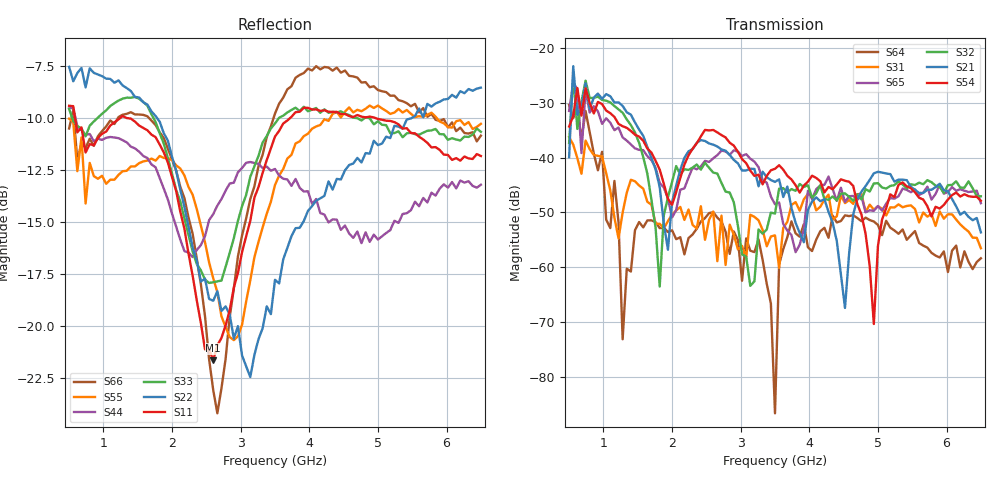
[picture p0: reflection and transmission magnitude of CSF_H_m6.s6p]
!Keysight Technologies,M9804A,MY58100912,A.14.10.03
!Date: Thursday, April 27, 2023 10:28:33
!Correction: S11(C  6-Port  )
!S12(C  6-Port  )
!S13(C  6-Port  )
!S14(C  6-Port  )
!S15(C  6-Port  )
!S16(C  6-Port  )
!S21(C  6-Port  )
!S22(C  6-Port  )
!S23(C  6-Port  )
!S24(C  6-Port  )
!S25(C  6-Port  )
!S26(C  6-Port  )
!S31(C  6-Port  )
!S32(C  6-Port  )
!S33(C  6-Port  )
!S34(C  6-Port  )
!S35(C  6-Port  )
!S36(C  6-Port  )
!S41(C  6-Port  )
!S42(C  6-Port  )
!S43(C  6-Port  )
!S44(C  6-Port  )
!S45(C  6-Port  )
!S46(C  6-Port  )
!S51(C  6-Port  )
!S52(C  6-Port  )
!S53(C  6-Port  )
!S54(C  6-Port  )
!S55(C  6-Port  )
!S56(C  6-Port  )
!S61(C  6-Port  )
!S62(C  6-Port  )
!S63(C  6-Port  )
!S64(C  6-Port  )
!S65(C  6-Port  )
!S66(C  6-Port  )
!S6P File: Measurement: :
# Hz S  RI  R 50
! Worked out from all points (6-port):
!   101 points, 500 MHz to 6.5 GHz, reference 50 ohm
!   strongest paths, dB at 500 MHz, 2 GHz, 3.5 GHz, 5 GHz, 6.5 GHz:
!     S54: -34.3, -48.6, -42.0, -56.1, -47.9
!     S21: -39.9, -48.1, -44.4, -42.6, -53.6
!     S32: -37.3, -44.4, -50.2, -44.6, -47.0
!     S65: -31.5, -50.9, -48.5, -48.8, -48.3
!     S31: -36.2, -50.4, -54.2, -48.9, -56.5
!     S64: -30.3, -53.2, -86.7, -52.3, -58.4
!   lowest |S11| = -21.6 dB at 2.6 GHz (marker M1), VSWR 1.18, Z = 42.6 + j2.04 ohm
!   |S11| at or under -10 dB: 587.8 MHz to 1.239 GHz (651.4 MHz wide, 71.3 % of centre); 1.368 GHz to 3.715 GHz (2.347 GHz wide, 92.3 % of centre); 4.975 GHz to end of sweep
